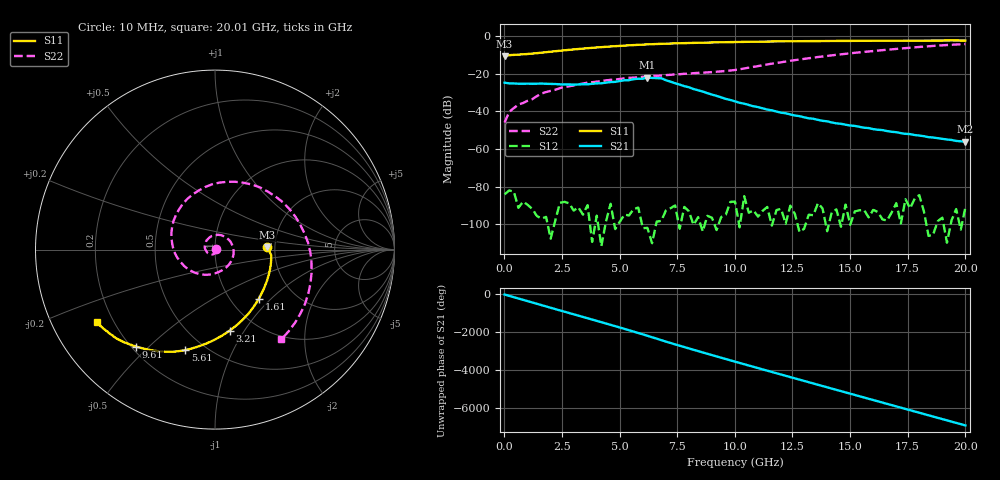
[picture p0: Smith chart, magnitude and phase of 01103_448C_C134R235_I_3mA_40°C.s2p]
!;Filter: kein Filter
!auto
!3/21/2019 9:27:07 AM
!3/21/2019 9:27:22 AM
!SP-Measurements Prober G4
!SP-Measurements Prober G4
!01103_448C
!134
!235
!12
!40
!-20
!0.00299959
!1.83
!0.38139174
!0.38139174
# Hz S  RI  R 50
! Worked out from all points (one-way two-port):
!   101 points, 10 MHz to 20.01 GHz, reference 50 ohm
!   highest |S21| = -22.00 dB at 6.21 GHz (marker M1); lowest = -56.0 dB at 20.01 GHz (marker M2)
!   lowest |S11| = -10.7 dB at 10 MHz (marker M3), VSWR 1.83, Z = 91.2 + j2.52 ohm
!   |S11| at or under -10 dB: start of sweep to 258.7 MHz
!   |S22| runs from -45.9 to -4.1 dB; largest |S21 - S12| = 0.079
!   S11 on the Smith chart (normalised r, x): 10 MHz: 1.82, +0.05; 1.61 GHz: 1.34, -0.85; 3.21 GHz: 0.75, -0.86; 5.61 GHz: 0.39, -0.67; 9.61 GHz: 0.22, -0.46; 20.01 GHz: 0.14, -0.28
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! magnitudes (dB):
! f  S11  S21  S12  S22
! 10 MHz  -10.7  -24.7  -84.1  -45.9
! 210 MHz  -10.0  -25.1  -82.0  -40.2
! 610 MHz  -9.8  -25.2  -91.2  -36.3
! 1.21 GHz  -9.2  -25.3  -91.9  -33.5
! 1.61 GHz  -8.7  -25.2  -97.0  -30.5
! 2.61 GHz  -7.4  -25.6  -88.1  -26.9
! 3.21 GHz  -6.8  -25.6  -91.0  -25.6
! 3.41 GHz  -6.5  -25.5  -94.9  -25.1
! 4.21 GHz  -5.8  -25.0  -111.7  -23.8
! 5.61 GHz  -4.7  -22.8  -91.9  -22.0
! 6.01 GHz  -4.4  -22.6  -102.1  -21.5
! 6.21 GHz  -4.3  -22.0  -101.9  -21.4
! 6.81 GHz  -4.0  -22.3  -98.2  -20.9
! 7.41 GHz  -3.8  -25.0  -90.0  -20.3
! 9.61 GHz  -3.1  -33.3  -94.9  -18.4
! 10.01 GHz  -3.1  -34.6  -87.9  -17.9
! 12.01 GHz  -2.7  -40.7  -91.8  -13.9
! 13.41 GHz  -2.6  -43.9  -95.2  -11.4
! 14.41 GHz  -2.5  -46.3  -92.1  -9.9
! 16.81 GHz  -2.3  -50.8  -93.7  -7.0
! 19.61 GHz  -2.2  -55.7  -91.9  -4.4
! 20.01 GHz  -2.3  -56.0  -91.0  -4.1
